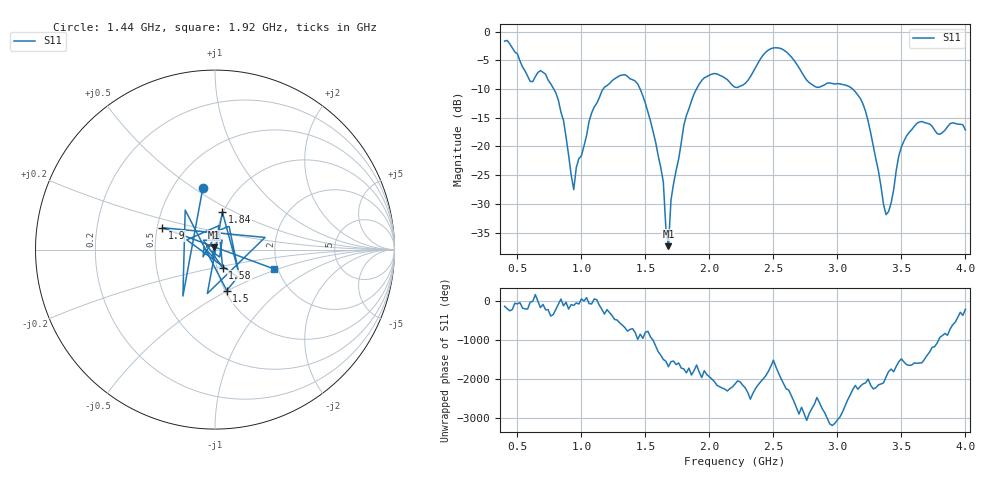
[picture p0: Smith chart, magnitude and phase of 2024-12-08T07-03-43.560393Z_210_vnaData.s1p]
!Created with skrf (http://scikit-rf.org).
# Hz S RI R 50.0
!freq ReS11 ImS11
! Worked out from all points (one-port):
!   181 points, 400 MHz to 4 GHz, reference 50 ohm
!   lowest |S11| = -37.4 dB at 1.68 GHz (marker M1), VSWR 1.03, Z = 49.4 + j1.21 ohm
!   |S11| at or under -10 dB: 783.3 MHz to 1.171 GHz (387.2 MHz wide, 39.6 % of centre); 1.459 GHz to 1.899 GHz (440.2 MHz wide, 26.2 % of centre); 3.119 GHz to end of sweep
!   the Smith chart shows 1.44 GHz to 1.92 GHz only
!   S11 on the Smith chart (normalised r, x): 1.44 GHz: 0.70, +0.55; 1.5 GHz: 1.02, -0.49; 1.58 GHz: 1.07, -0.22; 1.84 GHz: 0.99, +0.43; 1.9 GHz: 0.53, +0.14; 1.92 GHz: 1.91, -0.47
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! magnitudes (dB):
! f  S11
! 400 MHz  -1.7
! 600 MHz  -8.7
! 720 MHz  -7.4
! 860 MHz  -15.5
! 940 MHz  -27.5
! 1.08 GHz  -14.2
! 1.3 GHz  -7.7
! 1.44 GHz  -9.1
! 1.5 GHz  -12.5
! 1.58 GHz  -19.3
! 1.64 GHz  -26.2
! 1.66 GHz  -34.3
! 1.68 GHz  -37.4
! 1.7 GHz  -29.3
! 1.76 GHz  -22.2
! 1.84 GHz  -13.4
! 1.9 GHz  -10.0
! 1.92 GHz  -9.2
! 2.2 GHz  -9.7
! 2.48 GHz  -3.0
! 2.66 GHz  -5.0
! 2.84 GHz  -9.7
! 3.1 GHz  -9.7
! 3.22 GHz  -13.9
! 3.38 GHz  -31.9
! 3.48 GHz  -21.6
! 3.56 GHz  -17.6
! 4 GHz  -17.1
